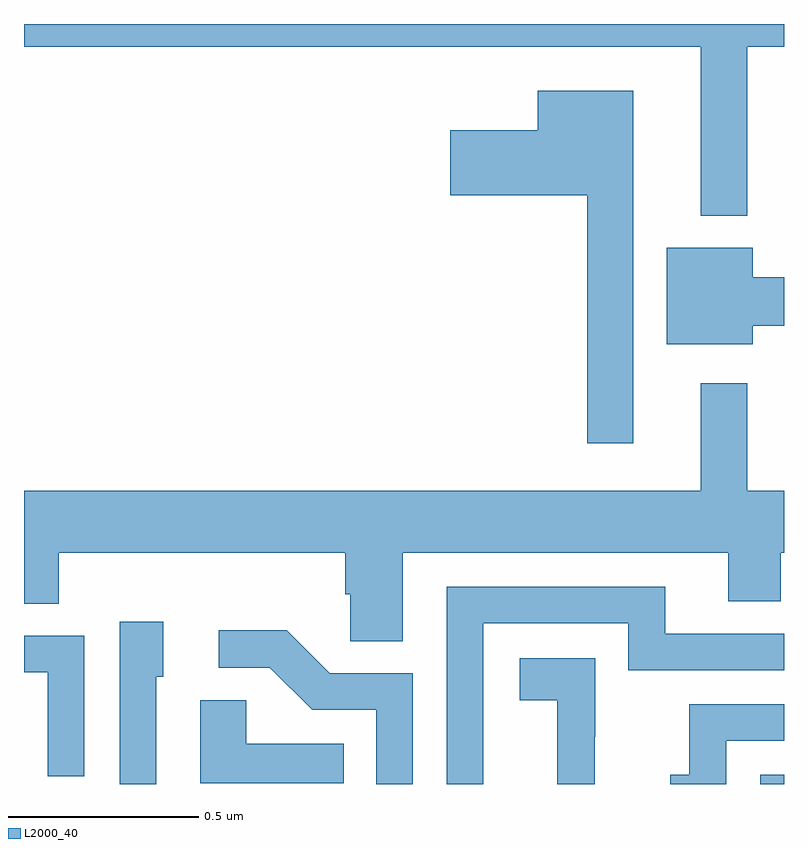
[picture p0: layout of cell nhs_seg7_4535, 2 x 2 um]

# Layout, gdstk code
import gdstk
lib = gdstk.Library(unit=1e-6, precision=1e-09)
def R(c, l, rs):  # rectangles x0, y0, x1, y1
    for r in rs: c.add(gdstk.rectangle(r[:2], r[2:], *l))
def P(c, l, *ps):  # polygons
    for p in ps: c.add(gdstk.Polygon(p, *l))
L2000_40 = (2000, 40)

nhs_seg7_4535 = lib.new_cell('nhs_seg7_4535')
R(nhs_seg7_4535, L2000_40, [(175.938,1008,176,1008.024)])
P(nhs_seg7_4535, L2000_40, [(175.903,1009.94),(176,1009.94),(176,1010),(174,1010),(174,1009.94),(175.781,1009.94),(175.781,1009.496),(175.903,1009.496)],
  [(175.603,1009.825),(175.352,1009.825),(175.352,1009.72),(175.122,1009.72),(175.122,1009.55),(175.482,1009.55),(175.482,1008.897),(175.603,1008.897)],
  [(175.918,1009.206),(176,1009.206),(176,1009.334),(175.918,1009.334),(175.918,1009.411),(175.691,1009.411),(175.691,1009.157),(175.918,1009.157)],
  [(174.997,1008.608),(175.853,1008.608),(175.853,1008.481),(175.992,1008.481),(175.992,1008.608),(176,1008.608),(176,1008.772),(175.903,1008.772),(175.903,1009.054),(175.781,1009.054),(175.781,1008.772),(174,1008.772),(174,1008.475),(174.092,1008.475),(174.092,1008.608),(174.845,1008.608),(174.845,1008.499),(174.858,1008.499),(174.858,1008.376),(174.997,1008.376)],
  [(175.209,1008.423),(175.59,1008.423),(175.59,1008.3),(176,1008.3),(176,1008.396),(175.687,1008.396),(175.687,1008.519),(175.113,1008.519),(175.113,1008),(175.209,1008)],
  [(174.348,1008.282),(174.367,1008.282),(174.367,1008.427),(174.252,1008.427),(174.252,1008),(174.348,1008)],
  [(175.023,1008.291),(174.804,1008.291),(174.691,1008.404),(174.513,1008.404),(174.513,1008.306),(174.647,1008.306),(174.758,1008.195),(174.927,1008.195),(174.927,1008),(175.023,1008)],
  [(174.159,1008.39),(174,1008.39),(174,1008.294),(174.063,1008.294),(174.063,1008.021),(174.159,1008.021)],
  [(175.502,1008.125),(175.503,1008.125),(175.503,1008.331),(175.305,1008.331),(175.305,1008.221),(175.403,1008.221),(175.403,1008),(175.502,1008)],
  [(174.842,1008.106),(174.585,1008.106),(174.585,1008.221),(174.464,1008.221),(174.464,1008.002),(174.842,1008.002)],
  [(175.848,1008.114),(176,1008.114),(176,1008.21),(175.75,1008.21),(175.75,1008.025),(175.701,1008.025),(175.701,1008),(175.848,1008)])

lib.write_gds('nhs_seg7_4535.gds')
